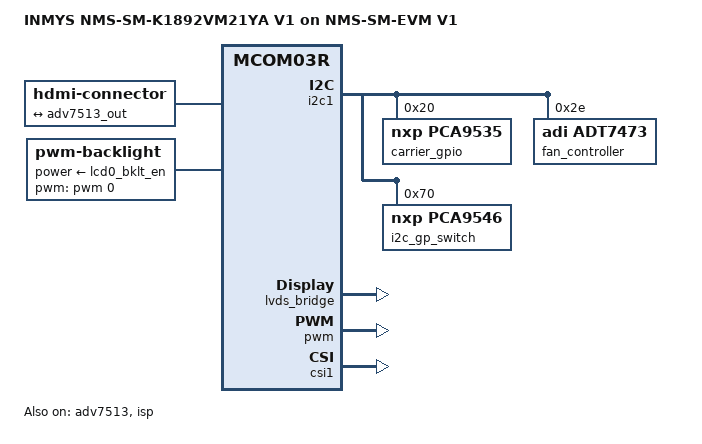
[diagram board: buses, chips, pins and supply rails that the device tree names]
// SPDX-License-Identifier: GPL-2.0+
/*
 * INMYS NMS-SM-EVM V1 carrier for NMS-SM-K1892VM21YA
 *
 * Carrier resources (see HARDWARE.md):
 *   X6   SMARC 2.1 edge connector (314 pin, AS0B826-S78B-7H)
 *   X12  15-pin camera: SoC CSI1 lanes 0/1, I2C_CAM0, D31 P04 PWDN
 *   X5   microSD socket                       (module SDMMC0)
 *   X7   RJ45 GbE0, X8 RJ45 GbE1              (module DAP8211 PHYs)
 *   X4   HDMI type A via TPD12S016 (D1)       (module ADV7513)
 *   X23  DisplayPort                          (module DP)
 *   X33  PCIe x4 slot                         (module PCIe0)
 *   X19  miniPCIe                             (module PCIe1)
 *   X9   M.2 M-key (SATA via module TUSB9261)
 *   X10/X11 USB 3.0 / USB 2.0 host ports      (module TUSB8041 hub)
 *   X24/X25 30-pin FPC DSI0/DSI1 displays + touch
 *   X13..X16 CAN0/CAN1 terminals              (module MFBSP0/1)
 *   X34  fan connector + D32 ADT7473 fan controller
 *   D31  PCA9535 GPIO expander (I2C_GP)
 *   D30  PCA9546 I2C switch (I2C_GP -> GP_A / mPCIe / DSI0 / DSI1)
 *
 * Copyright (C) 2026 INMYS
 */

/dts-v1/;

#include "nms-sm-k1892vm21ya.dtsi"

/ {
	model = "INMYS NMS-SM-K1892VM21YA V1 on NMS-SM-EVM V1";
	compatible = "inmys,nms-sm-evm",
		     "inmys,nms-sm-k1892vm21ya",
		     "inmys,nms-sm-k1892",
		     "elvees,mcom03r";

	chosen {
		stdout-path = "serial0:115200n8";
	};

	aliases {
		ethernet0 = &emac0;
		ethernet1 = &emac1;
	};

	hdmi_connector: hdmi-connector {
		compatible = "hdmi-connector";
		label = "hdmi";
		type = "a";

		port {
			hdmi_connector_in: endpoint {
				remote-endpoint = <&adv7513_out>;
			};
		};
	};

	/* SMARC LCD0 PWM and enable, driven by the module. */
	backlight: backlight {
		compatible = "pwm-backlight";
		pwms = <&pwm 0 NMS_PWM0_PERIOD_NS>;
		power-supply = <&lcd0_bklt_en>;
		brightness-levels = <0 1 10 20 30 40 50 60 70 80 90 100>;
		default-brightness-level = <6>;
	};
};

/* ------------------------------------------------------------------ */
/* Carrier I2C devices                                                */
/* ------------------------------------------------------------------ */

/* I2C_GP: PCA9535 (D31), fan controller (D32), I2C switch (D30). */
&i2c1 {
	carrier_gpio: gpio@20 {
		compatible = "nxp,pca9535";
		reg = <0x20>;
		gpio-controller;
		#gpio-cells = <2>;

		gpio-line-names =
			"DSI0_TP_RST_N", "DSI1_TP_RST_N",
			"DSI0_RST_N", "DSI1_RST_N",
			"CAM0_PWDN#", "I2C_GPIO05",
			"I2C_GPIO06", "I2C_GPIO07",
			"I2C_GPIO10", "I2C_GPIO11",
			"I2C_GPIO12", "I2C_GPIO13",
			"I2C_GPIO14", "I2C_GPIO15",
			"I2C_GPIO16", "I2C_GPIO17";
	};

	/* ADT7473ARQZ fan controller, 7-bit address 0x2e */
	fan_controller: hwmon@2e {
		compatible = "adi,adt7473";
		reg = <0x2e>;
	};

	i2c_gp_switch: i2c-switch@70 {
		compatible = "nxp,pca9546";
		reg = <0x70>;
		#address-cells = <1>;
		#size-cells = <0>;

		i2c_gp_a: i2c@0 {
			#address-cells = <1>;
			#size-cells = <0>;
			reg = <0>;
		};

		i2c_mpcie: i2c@1 {
			#address-cells = <1>;
			#size-cells = <0>;
			reg = <1>;
		};

		i2c_dsi0: i2c@2 {
			#address-cells = <1>;
			#size-cells = <0>;
			reg = <2>;
		};

		i2c_dsi1: i2c@3 {
			#address-cells = <1>;
			#size-cells = <0>;
			reg = <3>;
		};
	};
};

/* i2c_gp_a: X32 "PLD-10" expansion header */
/* i2c_mpcie: miniPCIe socket X19 */

/* ------------------------------------------------------------------ */
/* HDMI (X4) - ADV7513 is on the module, TPD12S016 on the carrier     */
/* ------------------------------------------------------------------ */

&adv7513 {
	status = "okay";

	ports {
		port@1 {
			reg = <1>;

			adv7513_out: endpoint {
				remote-endpoint = <&hdmi_connector_in>;
			};
		};
	};
};

/* ------------------------------------------------------------------ */
/* LVDS panel (X24) - SN65DSI84 on the module drives SMARC LVDS0        */
/* ------------------------------------------------------------------ */

/*
 * X24 is a 30-pin FPC carrying LVDS0 (S125..S138) plus the LCD0 controls;
 * X25 is the same for LVDS1 / LCD1 and is not described yet.  The panel
 * uses the module's default single-link 800x480 timing; override it for
 * a different fitted display.
 *
 * Panel power is SMARC LCD0_VDD_EN (S133) -> R96 -> D22 -> X24.11, which
 * the module drives from PCAL6416A P0_1.
 */
&lvds_bridge {
	status = "okay";
};

/* LCD0 is timer 0 output B, exposed as PWM channel 0. */
&pwm {
	status = "okay";
	elvees,output-channel = <1 0 0 0>;
	elvees,state-on-disable = <1 0 0 0>;
	pinctrl-names = "default";
	pinctrl-0 = <&pwm_oenb0_mux>;
};

&lvds_panel {
	status = "okay";
	backlight = <&backlight>;
	power-supply = <&lcd0_vdd_en>;
};

/* X12 uses SMARC CSI1 (P3/P4, P7/P8, P10/P11), but I2C_CAM0.
 * Felix sensor drivers run in userspace; no I2C sensor nodes belong here.
 * The camera module exposes only two lanes of the four-lane receiver.
 */
&isp {
	status = "okay";
};

&csi1 {
	status = "okay";
};
